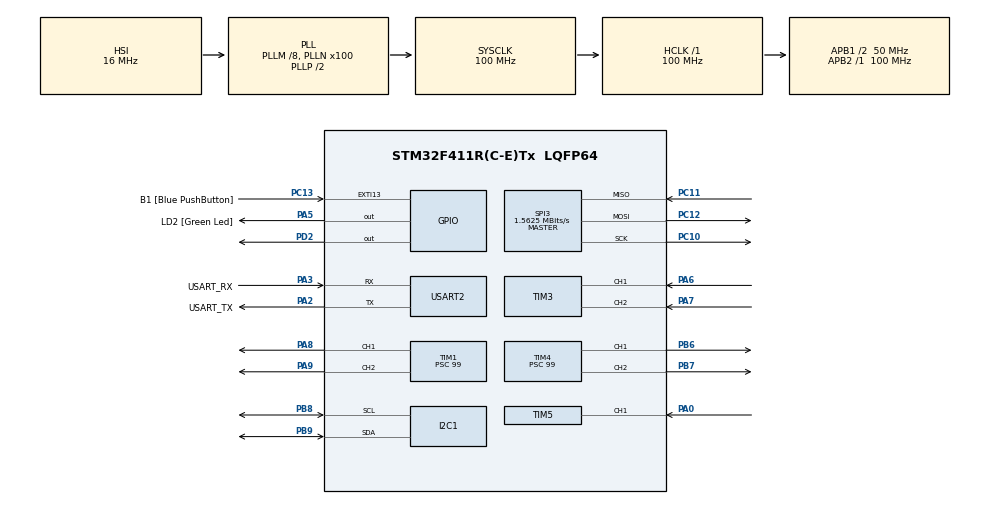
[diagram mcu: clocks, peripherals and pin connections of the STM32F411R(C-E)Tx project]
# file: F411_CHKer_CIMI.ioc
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ADC1.Channel-0\#ChannelRegularConversion=ADC_CHANNEL_TEMPSENSOR
ADC1.ClockPrescaler=ADC_CLOCK_SYNC_PCLK_DIV8
ADC1.ContinuousConvMode=ENABLE
ADC1.DMAContinuousRequests=ENABLE
ADC1.EOCSelection=ADC_EOC_SEQ_CONV
ADC1.ExternalTrigConv=ADC_EXTERNALTRIGCONV_T2_TRGO
ADC1.NbrOfConversionFlag=1
ADC1.Rank-0\#ChannelRegularConversion=1
ADC1.SamplingTime-0\#ChannelRegularConversion=ADC_SAMPLETIME_3CYCLES
ADC1.ScanConvMode=ENABLE
ADC1.master=1
Dma.ADC1.0.Direction=DMA_PERIPH_TO_MEMORY
Dma.ADC1.0.FIFOMode=DMA_FIFOMODE_DISABLE
Dma.ADC1.0.Instance=DMA2_Stream4
Dma.ADC1.0.MemDataAlignment=DMA_MDATAALIGN_HALFWORD
Dma.ADC1.0.MemInc=DMA_MINC_ENABLE
Dma.ADC1.0.Mode=DMA_CIRCULAR
Dma.ADC1.0.PeriphDataAlignment=DMA_PDATAALIGN_HALFWORD
Dma.ADC1.0.PeriphInc=DMA_PINC_DISABLE
Dma.ADC1.0.Priority=DMA_PRIORITY_LOW
Dma.Request0=ADC1
I2C1.I2C_Mode=I2C_Fast
Mcu.Family=STM32F4
Mcu.Name=STM32F411R(C-E)Tx
Mcu.Package=LQFP64
NVIC.DMA2_Stream4_IRQn=true\:0\:0\:false\:false\:true\:false\:true\:true
NVIC.EXTI15_10_IRQn=true\:0\:0\:false\:false\:true\:true\:true\:true
NVIC.PriorityGroup=NVIC_PRIORITYGROUP_0
PA0-WKUP.Signal=S_TIM5_CH1
PA13.GPIO_Label=TMS
PA13.Mode=Serial_Wire
PA13.Signal=SYS_JTMS-SWDIO
PA14.GPIO_Label=TCK
PA14.Mode=Serial_Wire
PA14.Signal=SYS_JTCK-SWCLK
PA2.GPIO_Label=USART_TX
PA2.Mode=Asynchronous
PA2.Signal=USART2_TX
PA3.GPIO_Label=USART_RX
PA3.Mode=Asynchronous
PA3.Signal=USART2_RX
PA5.GPIO_Label=LD2 [Green Led]
PA5.Signal=GPIO_Output
PA6.Signal=S_TIM3_CH1
PA7.Signal=S_TIM3_CH2
PA8.Signal=S_TIM1_CH1
PA9.Signal=S_TIM1_CH2
PB3.GPIO_Label=SWO
PB3.Signal=SYS_JTDO-SWO
PB6.Signal=S_TIM4_CH1
PB7.Signal=S_TIM4_CH2
PB8.Mode=I2C
PB8.Signal=I2C1_SCL
PB9.Mode=I2C
PB9.Signal=I2C1_SDA
PC10.Mode=Full_Duplex_Master
PC10.Signal=SPI3_SCK
PC11.Mode=Full_Duplex_Master
PC11.Signal=SPI3_MISO
PC12.Mode=Full_Duplex_Master
PC12.Signal=SPI3_MOSI
PC13-ANTI_TAMP.GPIO_Label=B1 [Blue PushButton]
PC13-ANTI_TAMP.GPIO_ModeDefaultEXTI=GPIO_MODE_IT_FALLING
PC13-ANTI_TAMP.Signal=GPXTI13
PC14-OSC32_IN.Mode=LSE-External-Oscillator
PC14-OSC32_IN.Signal=RCC_OSC32_IN
PC15-OSC32_OUT.Mode=LSE-External-Oscillator
PC15-OSC32_OUT.Signal=RCC_OSC32_OUT
PD2.PinState=GPIO_PIN_SET
PD2.Signal=GPIO_Output
PH0\ -\ OSC_IN.Mode=HSE-External-Clock-Source
PH0\ -\ OSC_IN.Signal=RCC_OSC_IN
PH1\ -\ OSC_OUT.Mode=HSE-External-Clock-Source
PH1\ -\ OSC_OUT.Signal=RCC_OSC_OUT
ProjectManager.HeapSize=0x200
ProjectManager.StackSize=0x400
ProjectManager.TargetToolchain=STM32CubeIDE
RCC.48MHZClocksFreq_Value=50000000
RCC.AHBFreq_Value=100000000
RCC.APB1CLKDivider=RCC_HCLK_DIV2
RCC.APB1Freq_Value=50000000
RCC.APB1TimFreq_Value=100000000
RCC.APB2Freq_Value=100000000
RCC.APB2TimFreq_Value=100000000
RCC.CortexFreq_Value=100000000
RCC.FLatency-AdvancedSettings=FLASH_LATENCY_3
RCC.HCLKFreq_Value=100000000
RCC.HSE_VALUE=8000000
RCC.HSI_VALUE=16000000
RCC.PLLM=8
RCC.PLLN=100
RCC.SYSCLKFreq_VALUE=100000000
RCC.SYSCLKSource=RCC_SYSCLKSOURCE_PLLCLK
RCC.VCOOutputFreq_Value=200000000
SH.S_TIM1_CH1.0=TIM1_CH1,PWM Generation1 CH1
SH.S_TIM1_CH2.0=TIM1_CH2,PWM Generation2 CH2
SH.S_TIM3_CH1.0=TIM3_CH1,Encoder_Interface
SH.S_TIM3_CH2.0=TIM3_CH2,Encoder_Interface
SH.S_TIM4_CH1.0=TIM4_CH1,PWM Generation1 CH1
SH.S_TIM4_CH2.0=TIM4_CH2,PWM Generation2 CH2
SH.S_TIM5_CH1.0=TIM5_CH1,PWM_Input_1
SPI3.BaudRatePrescaler=SPI_BAUDRATEPRESCALER_32
SPI3.CLKPolarity=SPI_POLARITY_HIGH
SPI3.CalculateBaudRate=1.5625 MBits/s
SPI3.Direction=SPI_DIRECTION_2LINES
SPI3.Mode=SPI_MODE_MASTER
SPI3.VirtualType=VM_MASTER
TIM1.Channel-PWM\ Generation1\ CH1=TIM_CHANNEL_1
TIM1.Channel-PWM\ Generation2\ CH2=TIM_CHANNEL_2
TIM1.Period=99
TIM1.Prescaler=99
TIM2.Period=999
TIM2.Prescaler=99
TIM2.TIM_MasterOutputTrigger=TIM_TRGO_UPDATE
TIM4.Channel-PWM\ Generation1\ CH1=TIM_CHANNEL_1
TIM4.Channel-PWM\ Generation2\ CH2=TIM_CHANNEL_2
TIM4.OCFastMode_PWM-PWM\ Generation1\ CH1=TIM_OCFAST_ENABLE
TIM4.OCFastMode_PWM-PWM\ Generation2\ CH2=TIM_OCFAST_ENABLE
TIM4.Period=999
TIM4.Prescaler=99
TIM4.Pulse-PWM\ Generation1\ CH1=200
TIM4.Pulse-PWM\ Generation2\ CH2=500
USART2.VirtualMode=VM_ASYNC
VP_ADC1_TempSens_Input.Mode=IN-TempSens
VP_TIM2_VS_ClockSourceINT.Mode=Internal
VP_TIM4_VS_ClockSourceINT.Mode=Internal
board=NUCLEO-F411RE

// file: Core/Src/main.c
/* USER CODE BEGIN Header */
/**
  ******************************************************************************
  * @file           : main.c
  * @brief          : Main program body
  ******************************************************************************
  * @attention
  *
  * Copyright (c) 2024 STMicroelectronics.
  * All rights reserved.
  *
  * This software is licensed under terms that can be found in the LICENSE file
  * in the root directory of this software component.
  * If no LICENSE file comes with this software, it is provided AS-IS.
  *
  ******************************************************************************
  */
/* USER CODE END Header */
#include "main.h"

/* USER CODE BEGIN Includes */
#include <stdio.h>
#include <string.h>
#include <math.h>
/* USER CODE END Includes */

/* USER CODE BEGIN PD */

//#define wrk_24LC64
//#define wrk_mcp23s
//#define	wrk_motor
#define pwm_rander

#define ADDR_24LC64_1 0b10100000
#define eepr_cucle 10
#define ADDR_MCP23S17

//#define mot_slope_period 500

/* USER CODE END PD */

ADC_HandleTypeDef hadc1;
DMA_HandleTypeDef hdma_adc1;

I2C_HandleTypeDef hi2c1;

SPI_HandleTypeDef hspi3;

TIM_HandleTypeDef htim1;
TIM_HandleTypeDef htim2;
TIM_HandleTypeDef htim3;
TIM_HandleTypeDef htim4;
TIM_HandleTypeDef htim5;

UART_HandleTypeDef huart2;

/* USER CODE BEGIN PV */

char uartTXBf[150];

struct _timestamp{
	uint32_t one;

	uint32_t mot;
	uint32_t pwmmot;
} timestamp; // flag raise for operation, dynamic raise in debug mode

struct _flag{
	uint8_t eepr_read;
	uint8_t mcps_read;
	uint8_t motorset;
} flag;

struct _eepr{
	uint8_t read[50];
	uint8_t score;
} set_eepr;

struct _mcp23s17{
	uint8_t read[10];
	uint8_t score;
} set_ioxp;

struct _mot{
	uint8_t pwm1;
	uint8_t pwm2;
	uint8_t slope;
	uint8_t cnt_slope;
	uint8_t cntb_slope; // edge detect
	uint8_t encode;
	uint16_t counta;
} set_mot;

struct _pwm_rander{
	uint16_t pulse;
	uint16_t duty;
	uint16_t pscl;
	uint8_t upp;
	uint16_t fq;
}prand;

union _ADCRawread{
	uint16_t u16[40];
	uint32_t u32[20];
}ADCRawread;

uint8_t dataset[60] = {
			0x12, 0x34, 0x56, 0x78, 0x90, 0x55, 0x55, 0x55, 0x55, 0x55,
			0x12, 0x34, 0x56, 0x78, 0x90, 0x55, 0x55, 0x55, 0x55, 0x55,
			0x12, 0x34, 0x56, 0x78, 0x90, 0x55, 0x55, 0x55, 0x55, 0x55,
			0x12, 0x34, 0x56, 0x78, 0x90, 0x55, 0x55, 0x55, 0x55, 0x55,
			0x12, 0x34, 0x56, 0x78, 0x90, 0x55, 0x55, 0x55, 0x55, 0x55,
			0x12, 0x34, 0x56, 0x78, 0x90, 0x55, 0x55, 0x55, 0x55, 0x55
	};

uint8_t dataz[60] = {
			0x00, 0x00, 0x00, 0x00, 0x00, 0x00, 0x00, 0x00, 0x00, 0x00,
			0x00, 0x00, 0x00, 0x00, 0x00, 0x00, 0x00, 0x00, 0x00, 0x00,
			0x00, 0x00, 0x00, 0x00, 0x00, 0x00, 0x00, 0x00, 0x00, 0x00,
			0x00, 0x00, 0x00, 0x00, 0x00, 0x00, 0x00, 0x00, 0x00, 0x00,
			0x00, 0x00, 0x00, 0x00, 0x00, 0x00, 0x00, 0x00, 0x00, 0x00
	};

uint8_t dataf[60] = {
			0xFF, 0xFF, 0xFF, 0xFF, 0xFF, 0xFF, 0xFF, 0xFF, 0xFF, 0xFF,
			0xFF, 0xFF, 0xFF, 0xFF, 0xFF, 0xFF, 0xFF, 0xFF, 0xFF, 0xFF,
			0xFF, 0xFF, 0xFF, 0xFF, 0xFF, 0xFF, 0xFF, 0xFF, 0xFF, 0xFF,
			0xFF, 0xFF, 0xFF, 0xFF, 0xFF, 0xFF, 0xFF, 0xFF, 0xFF, 0xFF,
			0xFF, 0xFF, 0xFF, 0xFF, 0xFF, 0xFF, 0xFF, 0xFF, 0xFF, 0xFF,
			0xFF, 0xFF, 0xFF, 0xFF, 0xFF, 0xFF, 0xFF, 0xFF, 0xFF, 0xFF,
	};

uint8_t d_upio_pu[3] = {0x0C, 0xFF, 0xFF};
uint8_t d_upio_pd[3] = {0x0C, 0x00, 0x00};
uint8_t d_upio_ops[3] = {0x00, 0x00, 0x00};

#ifdef mot_state
static enum _motstate{m_stop, m_cw, m_ccw} motstate;
static enum _slopestate{s_def, s_up, s_dn} slopstate;
static enum _ioxpstate{st_init, st_setup, st_ip, st_ol} ioxpstate;
#endif
/* USER CODE END PV */

void SystemClock_Config(void);
static void MX_GPIO_Init(void);
static void MX_DMA_Init(void);
static void MX_USART2_UART_Init(void);
static void MX_I2C1_Init(void);
static void MX_SPI3_Init(void);
static void MX_TIM3_Init(void);
static void MX_TIM1_Init(void);
static void MX_TIM4_Init(void);
static void MX_TIM5_Init(void);
static void MX_ADC1_Init(void);
static void MX_TIM2_Init(void);

int main(void)
{

  /* MCU Configuration--------------------------------------------------------*/

  /* Reset of all peripherals, Initializes the Flash interface and the Systick. */
  HAL_Init();

  /* Configure the system clock */
  SystemClock_Config();

  /* Initialize all configured peripherals */
  MX_GPIO_Init();
  MX_DMA_Init();
  MX_USART2_UART_Init();
  MX_I2C1_Init();
  MX_SPI3_Init();
  MX_TIM3_Init();
  MX_TIM1_Init();
  MX_TIM4_Init();
  MX_TIM5_Init();
  MX_ADC1_Init();
  MX_TIM2_Init();
  /* USER CODE BEGIN 2 */

  char temp[]="----------------- F411_CHKer_CIMI --------------------\r\n";
  HAL_UART_Transmit(&huart2, (uint8_t*)temp, strlen(temp),10);

  HAL_TIM_Encoder_Start(&htim3, TIM_CHANNEL_1 | TIM_CHANNEL_2);

  HAL_TIM_Base_Start(&htim2);
  HAL_ADC_Start_DMA(&hadc1, ADCRawread.u32, 30);

#ifdef pwm_rander
  //HAL_TIM_Base_Start(&htim4);
  HAL_TIM_PWM_Start(&htim4, TIM_CHANNEL_1);
  HAL_TIM_PWM_Start(&htim4, TIM_CHANNEL_2);

  HAL_TIM_Base_Start(&htim5);
  HAL_TIM_IC_Start(&htim5, TIM_CHANNEL_1);
  HAL_TIM_IC_Start(&htim5, TIM_CHANNEL_2);

  TIM4->CCR1 = 500;
  sprintf(uartTXBf, "- PWM Rander [ TIM4 - D10 -] ver221534 \r\n"
		  "- Error: +/- 2%% duty | Fq +/- 150Hz \r\n "
		  "Default: duty: 50 %% - Fq: 1000 Hz \r\n");
  HAL_UART_Transmit(&huart2, (uint8_t*)uartTXBf, strlen(uartTXBf),10);

#endif

  /* USER CODE END 2 */

  /* Infinite loop */
  /* USER CODE BEGIN WHILE */
  while (1)
  {

	   if(HAL_GetTick() >=  timestamp.one){
		  timestamp.one = HAL_GetTick() + 1000;
		  HAL_GPIO_TogglePin(LD2_GPIO_Port, LD2_Pin);
	  }

#ifdef wrk_24LC64

	   if(flag.eepr_read){

		   for(register int i = 0;i < eepr_cucle;i++){
					set_eepr.read[i] = 0;
				}
		   set_eepr.score = 0;
		   //// cat cat write 0x55 to eeprom

		   HAL_I2C_Mem_Write(&hi2c1, ADDR_24LC64_1, 0x00, I2C_MEMADD_SIZE_16BIT, &dataz[0], eepr_cucle, 100);
		   HAL_Delay(5);
		   HAL_I2C_Mem_Write(&hi2c1, ADDR_24LC64_1, 0x00, I2C_MEMADD_SIZE_16BIT, &dataset[0], eepr_cucle, 100);
		   HAL_Delay(5);
		   HAL_I2C_Mem_Read(&hi2c1, ADDR_24LC64_1, 0x00, I2C_MEMADD_SIZE_16BIT, &set_eepr.read[0], eepr_cucle, 100);
		   HAL_Delay(5);
		   for(register int i = 0;i < eepr_cucle; i++){
			   if(set_eepr.read[i]){
				   set_eepr.score++;
			   }
		   	}
		   sprintf(uartTXBf, "EEPR Score = %d \r\n ", set_eepr.score);
		   HAL_UART_Transmit(&huart2, (uint8_t*)uartTXBf, strlen(uartTXBf),10);

		   HAL_I2C_Mem_Write(&hi2c1, ADDR_24LC64_1, 0x00, I2C_MEMADD_SIZE_16BIT, &dataf[0], eepr_cucle, 100);
		   HAL_Delay(5);
		   flag.eepr_read = 0;
	   }

#endif

#ifdef wrk_mcp23s

	   switch(ioxpstate){
	   default:
	   case st_init:
		   if(flag.mcps_read){
			   	   ioxpstate = st_setup;
		   }
		   break;

	   case st_setup:
		   // set pullup
		   HAL_GPIO_WritePin(GPIOD, GPIO_PIN_2, GPIO_PIN_RESET);

		   for (register int si = 0;si < 3; si++){
			HAL_SPI_Transmit(&hspi3, &d_upio_pu[si], 1, 10);
				}

		   HAL_GPIO_WritePin(GPIOD, GPIO_PIN_2, GPIO_PIN_SET);
		   ioxpstate = st_ip;
		   break;

	   case st_ip:

		   HAL_GPIO_WritePin(GPIOD, GPIO_PIN_2, GPIO_PIN_RESET);
		   //// input read pullup
		   HAL_SPI_Receive(&hspi3, &set_ioxp.read[0], 2, 100);
		   //// reset, disable pullup
		   HAL_SPI_Transmit(&hspi3, &d_upio_pd[0], 3, 100);
		   //// output pin set
		   HAL_SPI_Transmit(&hspi3, &d_upio_ops[0], 3, 100);

		   HAL_GPIO_WritePin(GPIOD, GPIO_PIN_2, GPIO_PIN_SET);
		   ioxpstate = st_ol;
	   		   break;
		 //// output olat read

	   case st_ol:
		   HAL_GPIO_WritePin(GPIOD, GPIO_PIN_2, GPIO_PIN_RESET);

		   HAL_GPIO_WritePin(GPIOD, GPIO_PIN_2, GPIO_PIN_SET);

		   ioxpstate = st_init;
		   flag.mcps_read = 0;
		   break;

	   }

#endif

#ifdef wrk_motor

	   if(HAL_GetTick() >=  timestamp.pwmmot){
	  	   timestamp.pwmmot = HAL_GetTick() + 50;
	  	 //// slope runner
	  	 	   	switch(slopstate){

	  	 	   	default:
	  	 	   	case s_def:
	  	 	   		set_mot.slope = 1;
	  	 	   		set_mot.cnt_slope++;
	  	 	   		slopstate = s_up;
	  	 	   		break;

	  	 	   	case s_up:

	  	 	   		set_mot.slope++;
	  	 	   		if(set_mot.slope >= 100){slopstate = s_dn;}
	  	 	   		break;
	  	 	   	case s_dn:

	  	 	   		set_mot.slope--;
	  	 	   		if(set_mot.slope <= 0){slopstate = s_def;}
	  	 	   		 break;
	  	 	   	}//// slope runner
	   }

	   if(HAL_GetTick() >=  timestamp.mot){
	   		  timestamp.mot = HAL_GetTick() + 10;

	   	set_mot.encode = TIM3->CNT;

	   	//// motor state =====================================
	   switch(motstate){
	   default:
	   case m_stop:
		   set_mot.slope = 0;
		   set_mot.cnt_slope = 0;

		   if(flag.motorset){
			   motstate = m_cw;
			   slopstate = s_def;
			   HAL_TIM_PWM_Start(&htim1, TIM_CHANNEL_1);
			   HAL_TIM_PWM_Start(&htim1, TIM_CHANNEL_2);
		   }

	   break;

	   case m_cw:
		   if(flag.motorset == 0){
			   motstate = m_stop;
			   HAL_TIM_PWM_Stop(&htim1, TIM_CHANNEL_1);
			   HAL_TIM_PWM_Stop(&htim1, TIM_CHANNEL_2);
		   }
		   if(set_mot.cntb_slope != set_mot.cnt_slope){ //// loop count reloop
			   set_mot.cntb_slope = set_mot.cnt_slope;
				motstate = m_ccw;
			  }

			TIM1->CCR1 = set_mot.slope;
			TIM1->CCR2 = 0;

	   	   break;

	   case m_ccw:
		   if(flag.motorset == 0){
			   motstate = m_stop;
			   HAL_TIM_PWM_Stop(&htim1, TIM_CHANNEL_1);
			   HAL_TIM_PWM_Stop(&htim1, TIM_CHANNEL_2);}
		   if(set_mot.cntb_slope != set_mot.cnt_slope){ //// loop count reloop
			   set_mot.cntb_slope = set_mot.cnt_slope;
				motstate = m_cw;
			  }

		   TIM1->CCR1 = 0;
		   TIM1->CCR2 = set_mot.slope;

		   break;

	   	   }// switch
	   sprintf(uartTXBf, "encode = %d \r\n ", set_mot.encode);
	   HAL_UART_Transmit(&huart2, (uint8_t*)uartTXBf, strlen(uartTXBf),10);
	   }// stamp_mot
#endif
    /* USER CODE END WHILE */

  }
}

void SystemClock_Config(void)
{
  RCC_OscInitTypeDef RCC_OscInitStruct = {0};
  RCC_ClkInitTypeDef RCC_ClkInitStruct = {0};

  /** Configure the main internal regulator output voltage
  */
  __HAL_RCC_PWR_CLK_ENABLE();
  __HAL_PWR_VOLTAGESCALING_CONFIG(PWR_REGULATOR_VOLTAGE_SCALE1);

  /** Initializes the RCC Oscillators according to the specified parameters
  * in the RCC_OscInitTypeDef structure.
  */
  RCC_OscInitStruct.OscillatorType = RCC_OSCILLATORTYPE_HSI;
  RCC_OscInitStruct.HSIState = RCC_HSI_ON;
  RCC_OscInitStruct.HSICalibrationValue = RCC_HSICALIBRATION_DEFAULT;
  RCC_OscInitStruct.PLL.PLLState = RCC_PLL_ON;
  RCC_OscInitStruct.PLL.PLLSource = RCC_PLLSOURCE_HSI;
  RCC_OscInitStruct.PLL.PLLM = 8;
  RCC_OscInitStruct.PLL.PLLN = 100;
  RCC_OscInitStruct.PLL.PLLP = RCC_PLLP_DIV2;
  RCC_OscInitStruct.PLL.PLLQ = 4;
  if (HAL_RCC_OscConfig(&RCC_OscInitStruct) != HAL_OK)
  {
    Error_Handler();
  }

  /** Initializes the CPU, AHB and APB buses clocks
  */
  RCC_ClkInitStruct.ClockType = RCC_CLOCKTYPE_HCLK|RCC_CLOCKTYPE_SYSCLK
                              |RCC_CLOCKTYPE_PCLK1|RCC_CLOCKTYPE_PCLK2;
  RCC_ClkInitStruct.SYSCLKSource = RCC_SYSCLKSOURCE_PLLCLK;
  RCC_ClkInitStruct.AHBCLKDivider = RCC_SYSCLK_DIV1;
  RCC_ClkInitStruct.APB1CLKDivider = RCC_HCLK_DIV2;
  RCC_ClkInitStruct.APB2CLKDivider = RCC_HCLK_DIV1;

  if (HAL_RCC_ClockConfig(&RCC_ClkInitStruct, FLASH_LATENCY_3) != HAL_OK)
  {
    Error_Handler();
  }
}

static void MX_ADC1_Init(void)
{

  ADC_ChannelConfTypeDef sConfig = {0};

  /** Configure the global features of the ADC (Clock, Resolution, Data Alignment and number of conversion)
  */
  hadc1.Instance = ADC1;
  hadc1.Init.ClockPrescaler = ADC_CLOCK_SYNC_PCLK_DIV8;
  hadc1.Init.Resolution = ADC_RESOLUTION_12B;
  hadc1.Init.ScanConvMode = ENABLE;
  hadc1.Init.ContinuousConvMode = ENABLE;
  hadc1.Init.DiscontinuousConvMode = DISABLE;
  hadc1.Init.ExternalTrigConvEdge = ADC_EXTERNALTRIGCONVEDGE_RISING;
  hadc1.Init.ExternalTrigConv = ADC_EXTERNALTRIGCONV_T2_TRGO;
  hadc1.Init.DataAlign = ADC_DATAALIGN_RIGHT;
  hadc1.Init.NbrOfConversion = 1;
  hadc1.Init.DMAContinuousRequests = ENABLE;
  hadc1.Init.EOCSelection = ADC_EOC_SEQ_CONV;
  if (HAL_ADC_Init(&hadc1) != HAL_OK)
  {
    Error_Handler();
  }

  /** Configure for the selected ADC regular channel its corresponding rank in the sequencer and its sample time.
  */
  sConfig.Channel = ADC_CHANNEL_TEMPSENSOR;
  sConfig.Rank = 1;
  sConfig.SamplingTime = ADC_SAMPLETIME_3CYCLES;
  if (HAL_ADC_ConfigChannel(&hadc1, &sConfig) != HAL_OK)
  {
    Error_Handler();
  }

}

static void MX_I2C1_Init(void)
{

  hi2c1.Instance = I2C1;
  hi2c1.Init.ClockSpeed = 400000;
  hi2c1.Init.DutyCycle = I2C_DUTYCYCLE_2;
  hi2c1.Init.OwnAddress1 = 0;
  hi2c1.Init.AddressingMode = I2C_ADDRESSINGMODE_7BIT;
  hi2c1.Init.DualAddressMode = I2C_DUALADDRESS_DISABLE;
  hi2c1.Init.OwnAddress2 = 0;
  hi2c1.Init.GeneralCallMode = I2C_GENERALCALL_DISABLE;
  hi2c1.Init.NoStretchMode = I2C_NOSTRETCH_DISABLE;
  if (HAL_I2C_Init(&hi2c1) != HAL_OK)
  {
    Error_Handler();
  }

}

static void MX_SPI3_Init(void)
{

  /* SPI3 parameter configuration*/
  hspi3.Instance = SPI3;
  hspi3.Init.Mode = SPI_MODE_MASTER;
  hspi3.Init.Direction = SPI_DIRECTION_2LINES;
  hspi3.Init.DataSize = SPI_DATASIZE_8BIT;
  hspi3.Init.CLKPolarity = SPI_POLARITY_HIGH;
  hspi3.Init.CLKPhase = SPI_PHASE_1EDGE;
  hspi3.Init.NSS = SPI_NSS_SOFT;
  hspi3.Init.BaudRatePrescaler = SPI_BAUDRATEPRESCALER_32;
  hspi3.Init.FirstBit = SPI_FIRSTBIT_MSB;
  hspi3.Init.TIMode = SPI_TIMODE_DISABLE;
  hspi3.Init.CRCCalculation = SPI_CRCCALCULATION_DISABLE;
  hspi3.Init.CRCPolynomial = 10;
  if (HAL_SPI_Init(&hspi3) != HAL_OK)
  {
    Error_Handler();
  }

}

static void MX_TIM1_Init(void)
{

  TIM_MasterConfigTypeDef sMasterConfig = {0};
  TIM_OC_InitTypeDef sConfigOC = {0};
  TIM_BreakDeadTimeConfigTypeDef sBreakDeadTimeConfig = {0};

  htim1.Instance = TIM1;
  htim1.Init.Prescaler = 99;
  htim1.Init.CounterMode = TIM_COUNTERMODE_UP;
  htim1.Init.Period = 99;
  htim1.Init.ClockDivision = TIM_CLOCKDIVISION_DIV1;
  htim1.Init.RepetitionCounter = 0;
  htim1.Init.AutoReloadPreload = TIM_AUTORELOAD_PRELOAD_DISABLE;
  if (HAL_TIM_PWM_Init(&htim1) != HAL_OK)
  {
    Error_Handler();
  }
  sMasterConfig.MasterOutputTrigger = TIM_TRGO_RESET;
  sMasterConfig.MasterSlaveMode = TIM_MASTERSLAVEMODE_DISABLE;
  if (HAL_TIMEx_MasterConfigSynchronization(&htim1, &sMasterConfig) != HAL_OK)
  {
    Error_Handler();
  }
  sConfigOC.OCMode = TIM_OCMODE_PWM1;
  sConfigOC.Pulse = 0;
  sConfigOC.OCPolarity = TIM_OCPOLARITY_HIGH;
  sConfigOC.OCNPolarity = TIM_OCNPOLARITY_HIGH;
  sConfigOC.OCFastMode = TIM_OCFAST_DISABLE;
  sConfigOC.OCIdleState = TIM_OCIDLESTATE_RESET;
  sConfigOC.OCNIdleState = TIM_OCNIDLESTATE_RESET;
  if (HAL_TIM_PWM_ConfigChannel(&htim1, &sConfigOC, TIM_CHANNEL_1) != HAL_OK)
  {
    Error_Handler();
  }
  if (HAL_TIM_PWM_ConfigChannel(&htim1, &sConfigOC, TIM_CHANNEL_2) != HAL_OK)
  {
    Error_Handler();
  }
  sBreakDeadTimeConfig.OffStateRunMode = TIM_OSSR_DISABLE;
  sBreakDeadTimeConfig.OffStateIDLEMode = TIM_OSSI_DISABLE;
  sBreakDeadTimeConfig.LockLevel = TIM_LOCKLEVEL_OFF;
  sBreakDeadTimeConfig.DeadTime = 0;
  sBreakDeadTimeConfig.BreakState = TIM_BREAK_DISABLE;
  sBreakDeadTimeConfig.BreakPolarity = TIM_BREAKPOLARITY_HIGH;
  sBreakDeadTimeConfig.AutomaticOutput = TIM_AUTOMATICOUTPUT_DISABLE;
  if (HAL_TIMEx_ConfigBreakDeadTime(&htim1, &sBreakDeadTimeConfig) != HAL_OK)
  {
    Error_Handler();
  }
  HAL_TIM_MspPostInit(&htim1);

}

static void MX_TIM2_Init(void)
{

  TIM_ClockConfigTypeDef sClockSourceConfig = {0};
  TIM_MasterConfigTypeDef sMasterConfig = {0};

  htim2.Instance = TIM2;
  htim2.Init.Prescaler = 99;
  htim2.Init.CounterMode = TIM_COUNTERMODE_UP;
  htim2.Init.Period = 999;
  htim2.Init.ClockDivision = TIM_CLOCKDIVISION_DIV1;
  htim2.Init.AutoReloadPreload = TIM_AUTORELOAD_PRELOAD_DISABLE;
  if (HAL_TIM_Base_Init(&htim2) != HAL_OK)
  {
    Error_Handler();
  }
  sClockSourceConfig.ClockSource = TIM_CLOCKSOURCE_INTERNAL;
  if (HAL_TIM_ConfigClockSource(&htim2, &sClockSourceConfig) != HAL_OK)
  {
    Error_Handler();
  }
  sMasterConfig.MasterOutputTrigger = TIM_TRGO_UPDATE;
  sMasterConfig.MasterSlaveMode = TIM_MASTERSLAVEMODE_DISABLE;
  if (HAL_TIMEx_MasterConfigSynchronization(&htim2, &sMasterConfig) != HAL_OK)
  {
    Error_Handler();
  }

}

static void MX_TIM3_Init(void)
{

  TIM_Encoder_InitTypeDef sConfig = {0};
  TIM_MasterConfigTypeDef sMasterConfig = {0};

  htim3.Instance = TIM3;
  htim3.Init.Prescaler = 0;
  htim3.Init.CounterMode = TIM_COUNTERMODE_UP;
  htim3.Init.Period = 65535;
  htim3.Init.ClockDivision = TIM_CLOCKDIVISION_DIV1;
  htim3.Init.AutoReloadPreload = TIM_AUTORELOAD_PRELOAD_DISABLE;
  sConfig.EncoderMode = TIM_ENCODERMODE_TI1;
  sConfig.IC1Polarity = TIM_ICPOLARITY_RISING;
  sConfig.IC1Selection = TIM_ICSELECTION_DIRECTTI;
  sConfig.IC1Prescaler = TIM_ICPSC_DIV1;
  sConfig.IC1Filter = 0;
  sConfig.IC2Polarity = TIM_ICPOLARITY_RISING;
  sConfig.IC2Selection = TIM_ICSELECTION_DIRECTTI;
  sConfig.IC2Prescaler = TIM_ICPSC_DIV1;
  sConfig.IC2Filter = 0;
  if (HAL_TIM_Encoder_Init(&htim3, &sConfig) != HAL_OK)
  {
    Error_Handler();
  }
  sMasterConfig.MasterOutputTrigger = TIM_TRGO_RESET;
  sMasterConfig.MasterSlaveMode = TIM_MASTERSLAVEMODE_DISABLE;
  if (HAL_TIMEx_MasterConfigSynchronization(&htim3, &sMasterConfig) != HAL_OK)
  {
    Error_Handler();
  }

}

static void MX_TIM4_Init(void)
{

  TIM_ClockConfigTypeDef sClockSourceConfig = {0};
  TIM_MasterConfigTypeDef sMasterConfig = {0};
  TIM_OC_InitTypeDef sConfigOC = {0};

  htim4.Instance = TIM4;
  htim4.Init.Prescaler = 99;
  htim4.Init.CounterMode = TIM_COUNTERMODE_UP;
  htim4.Init.Period = 999;
  htim4.Init.ClockDivision = TIM_CLOCKDIVISION_DIV1;
  htim4.Init.AutoReloadPreload = TIM_AUTORELOAD_PRELOAD_DISABLE;
  if (HAL_TIM_Base_Init(&htim4) != HAL_OK)
  {
    Error_Handler();
  }
  sClockSourceConfig.ClockSource = TIM_CLOCKSOURCE_INTERNAL;
  if (HAL_TIM_ConfigClockSource(&htim4, &sClockSourceConfig) != HAL_OK)
  {
    Error_Handler();
  }
  if (HAL_TIM_PWM_Init(&htim4) != HAL_OK)
  {
    Error_Handler();
  }
  sMasterConfig.MasterOutputTrigger = TIM_TRGO_RESET;
  sMasterConfig.MasterSlaveMode = TIM_MASTERSLAVEMODE_DISABLE;
  if (HAL_TIMEx_MasterConfigSynchronization(&htim4, &sMasterConfig) != HAL_OK)
  {
    Error_Handler();
  }
  sConfigOC.OCMode = TIM_OCMODE_PWM1;
  sConfigOC.Pulse = 200;
  sConfigOC.OCPolarity = TIM_OCPOLARITY_HIGH;
  sConfigOC.OCFastMode = TIM_OCFAST_ENABLE;
  if (HAL_TIM_PWM_ConfigChannel(&htim4, &sConfigOC, TIM_CHANNEL_1) != HAL_OK)
  {
    Error_Handler();
  }
  sConfigOC.Pulse = 500;
  if (HAL_TIM_PWM_ConfigChannel(&htim4, &sConfigOC, TIM_CHANNEL_2) != HAL_OK)
  {
    Error_Handler();
  }
  HAL_TIM_MspPostInit(&htim4);

}

static void MX_TIM5_Init(void)
{

  TIM_SlaveConfigTypeDef sSlaveConfig = {0};
  TIM_IC_InitTypeDef sConfigIC = {0};
  TIM_MasterConfigTypeDef sMasterConfig = {0};

  htim5.Instance = TIM5;
  htim5.Init.Prescaler = 0;
  htim5.Init.CounterMode = TIM_COUNTERMODE_UP;
  htim5.Init.Period = 4294967295;
  htim5.Init.ClockDivision = TIM_CLOCKDIVISION_DIV1;
  htim5.Init.AutoReloadPreload = TIM_AUTORELOAD_PRELOAD_DISABLE;
  if (HAL_TIM_IC_Init(&htim5) != HAL_OK)
  {
    Error_Handler();
  }
  sSlaveConfig.SlaveMode = TIM_SLAVEMODE_RESET;
  sSlaveConfig.InputTrigger = TIM_TS_TI1FP1;
  sSlaveConfig.TriggerPolarity = TIM_INPUTCHANNELPOLARITY_RISING;
  sSlaveConfig.TriggerPrescaler = TIM_ICPSC_DIV1;
  sSlaveConfig.TriggerFilter = 0;
  if (HAL_TIM_SlaveConfigSynchro(&htim5, &sSlaveConfig) != HAL_OK)
  {
    Error_Handler();
  }
  sConfigIC.ICPolarity = TIM_INPUTCHANNELPOLARITY_RISING;
  sConfigIC.ICSelection = TIM_ICSELECTION_DIRECTTI;
  sConfigIC.ICPrescaler = TIM_ICPSC_DIV1;
  sConfigIC.ICFilter = 0;
  if (HAL_TIM_IC_ConfigChannel(&htim5, &sConfigIC, TIM_CHANNEL_1) != HAL_OK)
  {
    Error_Handler();
  }
  sConfigIC.ICPolarity = TIM_INPUTCHANNELPOLARITY_FALLING;
  sConfigIC.ICSelection = TIM_ICSELECTION_INDIRECTTI;
  if (HAL_TIM_IC_ConfigChannel(&htim5, &sConfigIC, TIM_CHANNEL_2) != HAL_OK)
  {
    Error_Handler();
  }
  sMasterConfig.MasterOutputTrigger = TIM_TRGO_RESET;
  sMasterConfig.MasterSlaveMode = TIM_MASTERSLAVEMODE_DISABLE;
  if (HAL_TIMEx_MasterConfigSynchronization(&htim5, &sMasterConfig) != HAL_OK)
  {
    Error_Handler();
  }

}

static void MX_USART2_UART_Init(void)
{

  huart2.Instance = USART2;
  huart2.Init.BaudRate = 115200;
  huart2.Init.WordLength = UART_WORDLENGTH_8B;
  huart2.Init.StopBits = UART_STOPBITS_1;
  huart2.Init.Parity = UART_PARITY_NONE;
  huart2.Init.Mode = UART_MODE_TX_RX;
  huart2.Init.HwFlowCtl = UART_HWCONTROL_NONE;
  huart2.Init.OverSampling = UART_OVERSAMPLING_16;
  if (HAL_UART_Init(&huart2) != HAL_OK)
  {
    Error_Handler();
  }

}

static void MX_DMA_Init(void)
{

  /* DMA controller clock enable */
  __HAL_RCC_DMA2_CLK_ENABLE();

  /* DMA interrupt init */
  /* DMA2_Stream4_IRQn interrupt configuration */
  HAL_NVIC_SetPriority(DMA2_Stream4_IRQn, 0, 0);
  HAL_NVIC_EnableIRQ(DMA2_Stream4_IRQn);

}

static void MX_GPIO_Init(void)
{
  GPIO_InitTypeDef GPIO_InitStruct = {0};

  /* GPIO Ports Clock Enable */
  __HAL_RCC_GPIOC_CLK_ENABLE();
  __HAL_RCC_GPIOH_CLK_ENABLE();
  __HAL_RCC_GPIOA_CLK_ENABLE();
  __HAL_RCC_GPIOD_CLK_ENABLE();
  __HAL_RCC_GPIOB_CLK_ENABLE();

  /*Configure GPIO pin Output Level */
  HAL_GPIO_WritePin(LD2_GPIO_Port, LD2_Pin, GPIO_PIN_RESET);

  /*Configure GPIO pin Output Level */
  HAL_GPIO_WritePin(GPIOD, GPIO_PIN_2, GPIO_PIN_SET);

  /*Configure GPIO pin : B1_Pin */
  GPIO_InitStruct.Pin = B1_Pin;
  GPIO_InitStruct.Mode = GPIO_MODE_IT_FALLING;
  GPIO_InitStruct.Pull = GPIO_NOPULL;
  HAL_GPIO_Init(B1_GPIO_Port, &GPIO_InitStruct);

  /*Configure GPIO pin : LD2_Pin */
  GPIO_InitStruct.Pin = LD2_Pin;
  GPIO_InitStruct.Mode = GPIO_MODE_OUTPUT_PP;
  GPIO_InitStruct.Pull = GPIO_NOPULL;
  GPIO_InitStruct.Speed = GPIO_SPEED_FREQ_LOW;
  HAL_GPIO_Init(LD2_GPIO_Port, &GPIO_InitStruct);

  /*Configure GPIO pin : PD2 */
  GPIO_InitStruct.Pin = GPIO_PIN_2;
  GPIO_InitStruct.Mode = GPIO_MODE_OUTPUT_PP;
  GPIO_InitStruct.Pull = GPIO_NOPULL;
  GPIO_InitStruct.Speed = GPIO_SPEED_FREQ_LOW;
  HAL_GPIO_Init(GPIOD, &GPIO_InitStruct);

  /* EXTI interrupt init*/
  HAL_NVIC_SetPriority(EXTI15_10_IRQn, 0, 0);
  HAL_NVIC_EnableIRQ(EXTI15_10_IRQn);

}

/* USER CODE BEGIN 4 */
void HAL_GPIO_EXTI_Callback(uint16_t GPIO_Pin){
	if(GPIO_Pin == GPIO_PIN_13){

#ifdef pwm_rander
		/* Require 100 -10K Hz -> pscl = 100 1000 10000
		 * duty [0, 100] %
		 * multiply by 10 i = (i << 3) + (i << 1);
		 */

		prand.duty = ((prand.duty + 10 + HAL_GetTick()) % 88) + 5;

		////
		//prand.upp = ((HAL_GetTick() & 0xFF) % 3);
		//prand.fq = (uint)((((pow(10, prand.upp)) * prand.duty * prand.upp) % 100 * 100) % 10000);

		prand.upp = ((HAL_GetTick() & 0xFF) + prand.duty + prand.upp + TIM4->CNT) % 100; //random 1-100
		prand.fq = 100 * prand.upp;

		if(!prand.fq){prand.fq = 1000;}
		prand.pscl = (uint16_t)(1000000.0 / prand.fq)- 1; // log xpression
		prand.pulse = (unsigned int)((prand.duty * prand.pscl) / 100.0);

		TIM4->CCR1 = prand.pulse;
		TIM4->ARR = prand.pscl;

		sprintf(uartTXBf, "duty: %d %% ][ FQ: %d Hz _|_ [ PSCL: %d ][ Pulse: %d ]\r\n "
				,prand.duty, prand.fq, prand.pscl, prand.pulse);
		HAL_UART_Transmit(&huart2, (uint8_t*)uartTXBf, strlen(uartTXBf),10);

#endif

#ifdef wrk_24LC64
		flag.eepr_read = 1;
#endif
#ifdef wrk_mcp23s
		flag.mcps_read = 1;
#endif
#ifdef wrk_motor
		flag.motorset++;
		if(flag.motorset >= 2){flag.motorset = 0;}
#endif

	}
}
/* USER CODE END 4 */

void Error_Handler(void)
{
  __disable_irq();
  while (1)
  {
  }
}
